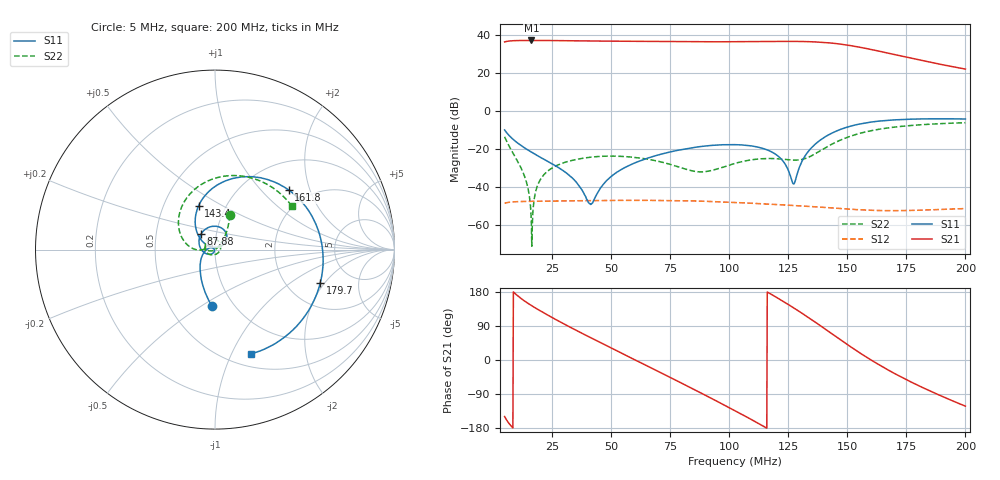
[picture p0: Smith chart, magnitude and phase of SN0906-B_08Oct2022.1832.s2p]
# Hz S DB R 50
! CMT, M5045, 22160017, 22.3.3/2
! Date: 10/8/2022 18:32:26
! Data: Format (Calibration Info)
! Freq	S11:dB/Ang(F2)	S21:dB/Ang(F2)	S12:dB/Ang(F2)	S22:dB/Ang(F2)
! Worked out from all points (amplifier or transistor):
!   1001 points, 5 MHz to 200 MHz, reference 50 ohm
!   highest |S21| = 37.1 dB at 16.31 MHz (marker M1)
!   |S21| within 3 dB of that: start of sweep to 152.8 MHz
!   unconditionally stable (mu >= 1): start of sweep to end of sweep
!   at 37.37 MHz: K = 1.79, MAG = 36.9 dB, |S12| = -47.2 dB
!   at 102.5 MHz: K = 2.02, MAG = 36.5 dB, |S12| = -48.1 dB
!   at 200 MHz: K = 7.18, MAG = 25.1 dB, |S12| = -51.3 dB
!   S11 on the Smith chart (normalised r, x): 5 MHz: 0.79, -0.56; 87.88 MHz: 0.84, +0.15; 143.4 MHz: 0.75, +0.39; 161.8 MHz: 1.57, +1.45; 179.7 MHz: 3.01, -1.82; 200 MHz: 0.64, -1.19
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5000000  -9.97 -92.8  36.32 -149.1  -48.54 -146.3  -13.58 67.2
9290000  -15.66 -118.9  36.99 176.2  -47.73 178.9  -23.81 49.5
1.631e7  -21.62 -152.2  37.10 143.9  -47.50 146.3  -58.13 23.3
2.6645e7  -28.94 167.3  37.03 106.8  -47.34 110.2  -28.94 -169.9
3.7565e7  -41.31 143.0  36.89 71.1  -47.19 75.8  -24.97 162.6
4.6535e7  -38.92 -109.4  36.77 42.7  -47.09 48.9  -23.82 137.1
5.4335e7  -30.84 -125.2  36.67 18.4  -47.02 26.0  -23.86 113.4
6.2135e7  -26.32 -148.7  36.58 -5.8  -47.00 3.3  -24.72 88.0
7.013e7  -23.09 -173.1  36.50 -30.6  -47.02 -20.0  -26.48 58.6
7.949e7  -20.38 158.2  36.44 -59.9  -47.16 -47.3  -29.76 13.4
8.7875e7  -18.71 132.5  36.41 -86.4  -47.42 -72.1  -32.03 -48.5
1.025e8  -17.71 87.4  36.41 -133.8  -48.12 -116.4  -27.56 -141.3
1.1147e8  -18.80 59.7  36.48 -164.1  -48.65 -145.1  -25.37 -174.9
1.19465e8  -22.56 36.1  36.57 167.5  -49.17 -172.7  -25.06 165.1
1.26875e8  -37.79 67.4  36.61 139.3  -49.67 159.1  -25.79 162.1
1.35065e8  -19.08 141.8  36.41 105.8  -50.28 124.3  -23.44 179.8
1.4345e8  -11.68 110.4  35.71 69.4  -51.00 85.1  -17.48 175.3
1.5203e8  -7.77 75.8  34.27 32.4  -51.72 44.0  -12.98 152.2
1.6178e8  -5.55 39.0  31.91 -6.5  -52.29 1.3  -9.96 122.4
1.6763e8  -4.86 19.0  30.33 -27.5  -52.42 -21.0  -8.83 105.6
1.7972e8  -4.22 -17.8  27.04 -66.2  -52.23 -60.0  -7.37 74.3
2e8  -4.23 -70.8  22.04 -121.8  -51.32 -111.9  -6.16 29.8
